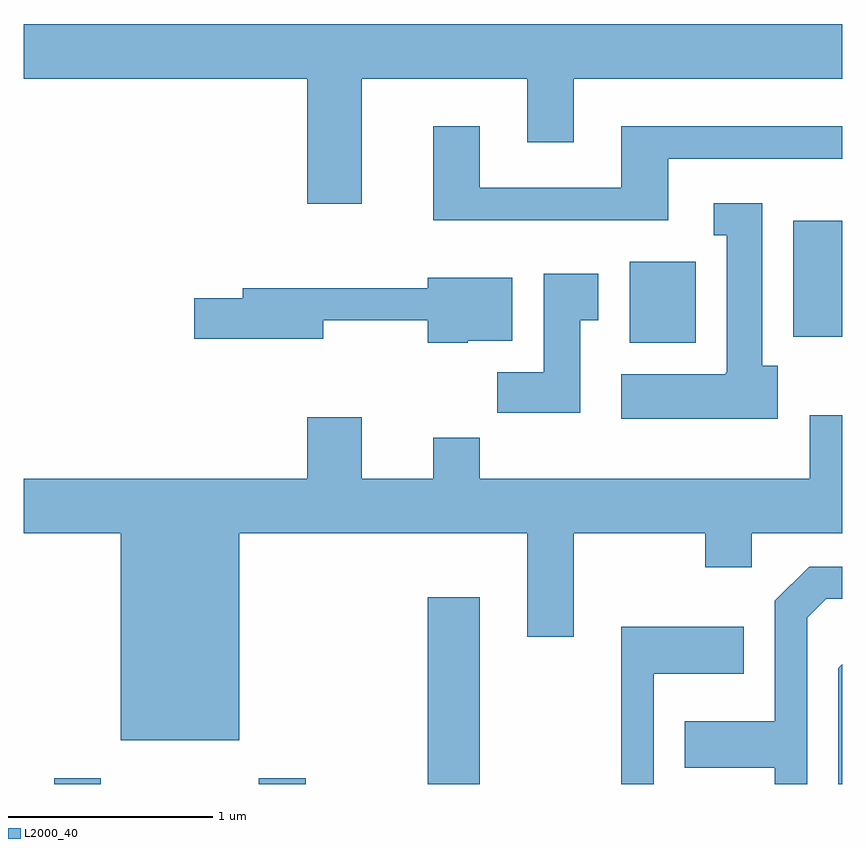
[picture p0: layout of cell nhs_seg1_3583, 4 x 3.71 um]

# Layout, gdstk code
import gdstk
lib = gdstk.Library(unit=1e-6, precision=1e-09)
def R(c, l, rs):  # rectangles x0, y0, x1, y1
    for r in rs: c.add(gdstk.rectangle(r[:2], r[2:], *l))
def P(c, l, *ps):  # polygons
    for p in ps: c.add(gdstk.Polygon(p, *l))
L2000_40 = (2000, 40)

nhs_seg1_3583 = lib.new_cell('nhs_seg1_3583')
R(nhs_seg1_3583, L2000_40, [(293.761,871.712,293.989,871.739), (294.761,871.712,294.989,871.739), (295.586,871.712,295.839,872.624), (296.571,873.866,296.894,874.264), (297.371,873.896,297.611,874.464)])
P(nhs_seg1_3583, L2000_40, [(295.264,875.156),(296.071,875.156),(296.071,874.846),(296.299,874.846),(296.299,875.156),(297.611,875.156),(297.611,875.424),(293.611,875.424),(293.611,875.156),(294.996,875.156),(294.996,874.546),(295.264,874.546)],
  [(296.759,874.766),(297.611,874.766),(297.611,874.924),(296.531,874.924),(296.531,874.624),(295.839,874.624),(295.839,874.924),(295.611,874.924),(295.611,874.466),(296.759,874.466)],
  [(297.294,873.754),(297.219,873.754),(297.219,874.549),(296.983,874.549),(296.983,874.391),(297.046,874.391),(297.046,873.72),(297.04,873.72),(297.04,873.714),(296.531,873.714),(296.531,873.496),(297.294,873.496)],
  [(296.329,873.976),(296.419,873.976),(296.419,874.204),(296.151,874.204),(296.151,873.724),(295.926,873.724),(295.926,873.526),(296.329,873.526)],
  [(295.78,873.876),(295.999,873.876),(295.999,874.184),(295.586,874.184),(295.586,874.134),(294.681,874.134),(294.681,874.084),(294.446,874.084),(294.446,873.886),(295.074,873.886),(295.074,873.976),(295.586,873.976),(295.586,873.866),(295.78,873.866)],
  [(294.664,872.936),(296.071,872.936),(296.071,872.431),(296.299,872.431),(296.299,872.936),(296.941,872.936),(296.941,872.771),(297.169,872.771),(297.169,872.936),(297.611,872.936),(297.611,873.514),(297.451,873.514),(297.451,873.204),(295.839,873.204),(295.839,873.404),(295.611,873.404),(295.611,873.204),(295.264,873.204),(295.264,873.504),(294.996,873.504),(294.996,873.204),(293.611,873.204),(293.611,872.936),(294.086,872.936),(294.086,871.926),(294.664,871.926)],
  [(297.439,872.524),(297.532,872.616),(297.611,872.616),(297.611,872.774),(297.449,872.774),(297.281,872.607),(297.281,872.019),(296.841,872.019),(296.841,871.791),(297.281,871.791),(297.281,871.712),(297.439,871.712)],
  [(296.689,872.251),(297.129,872.251),(297.129,872.479),(296.531,872.479),(296.531,871.712),(296.689,871.712)],
  [(297.611,872.297),(297.591,872.277),(297.591,871.712),(297.611,871.712)])

lib.write_gds('nhs_seg1_3583.gds')
